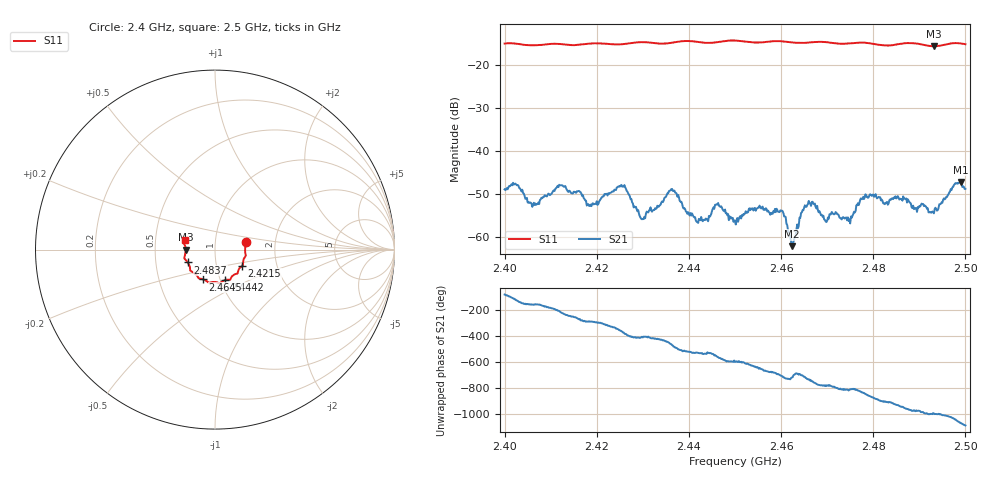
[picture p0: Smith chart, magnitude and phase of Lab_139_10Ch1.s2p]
# Hz S RI R 50
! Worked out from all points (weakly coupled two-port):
!   601 points, 2.4 GHz to 2.5 GHz, reference 50 ohm
!   highest |S21| = -47.28 dB at 2.499 GHz (marker M1); lowest = -62.2 dB at 2.4623 GHz (marker M2)
!   lowest |S11| = -15.7 dB at 2.4932 GHz (marker M3), VSWR 1.39, Z = 36 - j0.0433 ohm
!   |S11| at or under -10 dB: start of sweep to end of sweep
!   S12 and S22 are empty: the file has one direction only
!   S11 on the Smith chart (normalised r, x): 2.4 GHz: 1.41, +0.12; 2.4215 GHz: 1.33, -0.25; 2.4442 GHz: 1.05, -0.37; 2.4645 GHz: 0.83, -0.29; 2.4837 GHz: 0.73, -0.11; 2.5 GHz: 0.71, +0.07
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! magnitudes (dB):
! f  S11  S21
! 2.4 GHz  -15.1  -49.0
! 2.4065 GHz  -15.5  -52.6
! 2.4167 GHz  -15.3  -50.0
! 2.4215 GHz  -15.1  -50.6
! 2.4257 GHz  -15.2  -48.3
! 2.43 GHz  -14.8  -55.8
! 2.4333 GHz  -15.1  -53.0
! 2.4363 GHz  -14.9  -48.9
! 2.4442 GHz  -15.0  -56.4
! 2.4462 GHz  -14.8  -52.5
! 2.45 GHz  -14.4  -56.2
! 2.46 GHz  -14.6  -53.9
! 2.4623 GHz  -14.8  -62.2
! 2.4645 GHz  -15.0  -54.3
! 2.4667 GHz  -14.8  -51.9
! 2.4745 GHz  -15.1  -55.5
! 2.4778 GHz  -14.9  -50.7
! 2.4833 GHz  -15.6  -52.2
! 2.4837 GHz  -15.5  -51.3
! 2.4932 GHz  -15.7  -54.5
! 2.499 GHz  -15.1  -47.3
! 2.5 GHz  -15.3  -48.8
